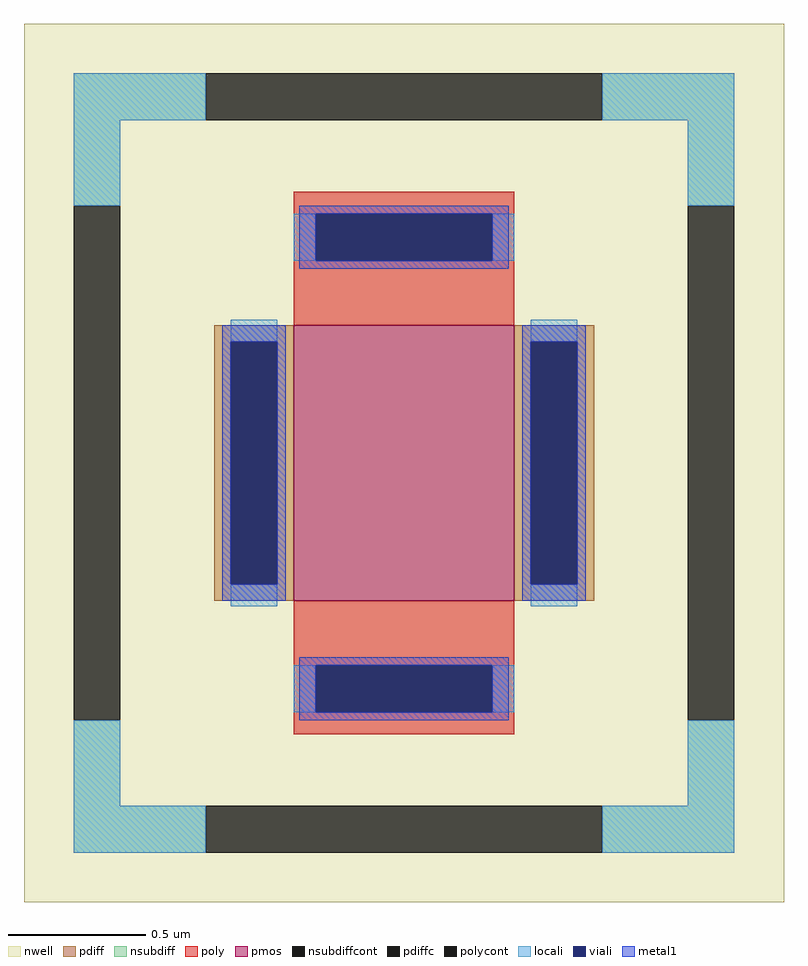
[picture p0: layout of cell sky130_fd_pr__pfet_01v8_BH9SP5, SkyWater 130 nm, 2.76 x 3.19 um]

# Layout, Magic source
magic
tech sky130A
magscale 1 2
<< nwell >>
rect -276 -319 276 319
<< pmos >>
rect -80 -100 80 100
<< pdiff >>
rect -138 88 -80 100
rect -138 -88 -126 88
rect -92 -88 -80 88
rect -138 -100 -80 -88
rect 80 88 138 100
rect 80 -88 92 88
rect 126 -88 138 88
rect 80 -100 138 -88
<< pdiffc >>
rect -126 -88 -92 88
rect 92 -88 126 88
<< nsubdiff >>
rect -240 249 -144 283
rect 144 249 240 283
rect -240 187 -206 249
rect 206 187 240 249
rect -240 -249 -206 -187
rect 206 -249 240 -187
rect -240 -283 -144 -249
rect 144 -283 240 -249
<< nsubdiffcont >>
rect -144 249 144 283
rect -240 -187 -206 187
rect 206 -187 240 187
rect -144 -283 144 -249
<< poly >>
rect -80 181 80 197
rect -80 147 -64 181
rect 64 147 80 181
rect -80 100 80 147
rect -80 -147 80 -100
rect -80 -181 -64 -147
rect 64 -181 80 -147
rect -80 -197 80 -181
<< polycont >>
rect -64 147 64 181
rect -64 -181 64 -147
<< locali >>
rect -240 249 -144 283
rect 144 249 240 283
rect -240 187 -206 249
rect 206 187 240 249
rect -80 147 -64 181
rect 64 147 80 181
rect -126 88 -92 104
rect -126 -104 -92 -88
rect 92 88 126 104
rect 92 -104 126 -88
rect -80 -181 -64 -147
rect 64 -181 80 -147
rect -240 -249 -206 -187
rect 206 -249 240 -187
rect -240 -283 -144 -249
rect 144 -283 240 -249
<< viali >>
rect -64 147 64 181
rect -126 -88 -92 88
rect 92 -88 126 88
rect -64 -181 64 -147
<< metal1 >>
rect -76 181 76 187
rect -76 147 -64 181
rect 64 147 76 181
rect -76 141 76 147
rect -132 88 -86 100
rect -132 -88 -126 88
rect -92 -88 -86 88
rect -132 -100 -86 -88
rect 86 88 132 100
rect 86 -88 92 88
rect 126 -88 132 88
rect 86 -100 132 -88
rect -76 -147 76 -141
rect -76 -181 -64 -147
rect 64 -181 76 -147
rect -76 -187 76 -181
<< properties >>
string FIXED_BBOX -223 -266 223 266
string gencell sky130_fd_pr__pfet_01v8
string library sky130
string parameters w 1 l 0.8 m 1 nf 1 diffcov 100 polycov 100 guard 1 glc 1 grc 1 gtc 1 gbc 1 tbcov 100 rlcov 100 topc 1 botc 1 poverlap 0 doverlap 1 lmin 0.15 wmin 0.42 compatible {sky130_fd_pr__pfet_01v8  sky130_fd_pr__pfet_01v8_lvt sky130_fd_pr__pfet_01v8_hvt  sky130_fd_pr__pfet_g5v0d10v5} full_metal 1 viasrc 100 viadrn 100 viagate 100 viagb 0 viagr 0 viagl 0 viagt 0
<< end >>
